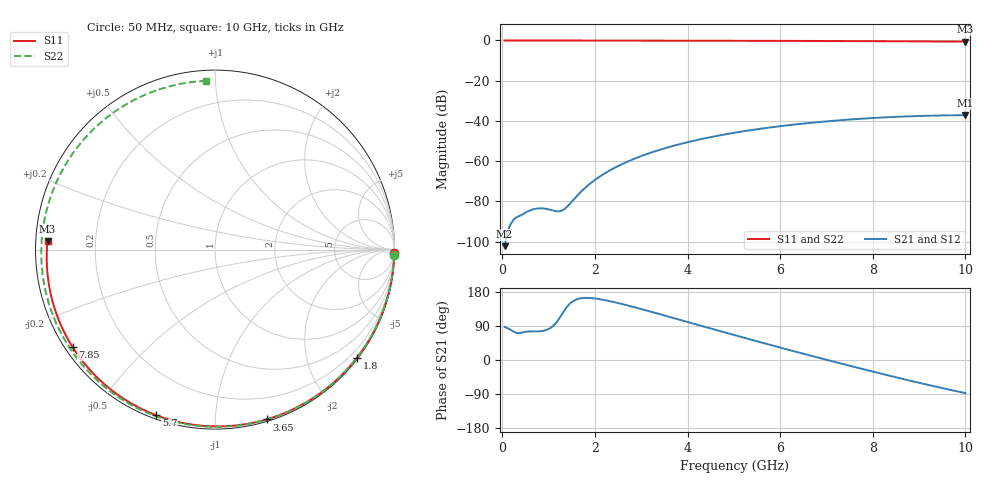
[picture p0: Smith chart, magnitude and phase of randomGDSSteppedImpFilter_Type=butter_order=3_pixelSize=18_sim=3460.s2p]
! freq	dB(S11)	phase(S11)	dB(S12)	phase(S12)
!  dB(S21)	phase(S21)	dB(S22)	phase(S22)
!S-par simulation data
#  GHz  S  DB  R 50
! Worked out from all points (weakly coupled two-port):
!   200 points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, 50 MHz to 10 GHz, reference 50 ohm
!   highest |S21| = -37.12 dB at 10 GHz (marker M1); lowest = -102.2 dB at 50 MHz (marker M2)
!   lowest |S11| = -0.6 dB at 10 GHz (marker M3), VSWR 29.42, Z = 1.7 + j1.26 ohm
!   |S11| at or under -10 dB: nowhere
!   |S22| runs from -0.5 to 0.0 dB; largest |S21 - S12| = 0
!   S11 on the Smith chart (normalised r, x): 50 MHz: open; 1.8 GHz: 0.03, -2.97; 3.65 GHz: 0.02, -1.35; 5.7 GHz: 0.02, -0.71; 7.85 GHz: 0.02, -0.31; 10 GHz: 0.03, +0.03
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0.05  -0.00 -1.0  -102.21 87.4  -102.21 87.4  -0.01 -1.7
0.4  -0.01 -8.4  -86.89 71.5  -86.89 71.5  -0.02 -13.6
0.75  -0.02 -15.7  -83.51 75.3  -83.51 75.3  -0.03 -25.4
1.15  -0.03 -24.0  -84.79 96.3  -84.79 96.3  -0.05 -38.7
1.5  -0.04 -31.1  -80.11 152.9  -80.11 152.9  -0.06 -50.0
1.75  -0.05 -36.2  -74.05 163.5  -74.05 163.5  -0.07 -57.8
1.8  -0.05 -37.2  -73.00 163.8  -73.00 163.8  -0.07 -59.4
2.1  -0.06 -43.2  -67.69 160.6  -67.69 160.6  -0.08 -68.6
2.45  -0.06 -50.2  -62.98 151.7  -62.98 151.7  -0.10 -79.0
2.9  -0.08 -58.9  -58.33 137.7  -58.33 137.7  -0.11 -91.9
3.4  -0.09 -68.4  -54.32 121.0  -54.32 121.0  -0.13 -105.6
3.65  -0.10 -73.1  -52.64 112.4  -52.64 112.4  -0.14 -112.2
4.35  -0.12 -85.9  -48.73 88.4  -48.73 88.4  -0.17 -130.0
5.05  -0.15 -98.3  -45.71 64.5  -45.71 64.5  -0.20 -147.0
5.7  -0.18 -109.6  -43.48 42.7  -43.48 42.7  -0.24 -162.3
6.2  -0.21 -118.0  -42.06 26.3  -42.06 26.3  -0.27 -173.9
6.7  -0.25 -126.4  -40.84 10.1  -40.84 10.1  -0.30 174.6
7.25  -0.29 -135.6  -39.72 -7.3  -39.72 -7.3  -0.34 161.7
7.85  -0.34 -145.6  -38.74 -26.0  -38.74 -26.0  -0.38 147.5
8.35  -0.39 -154.0  -38.11 -41.2  -38.11 -41.2  -0.42 135.4
9.2  -0.49 -168.6  -37.40 -65.9  -37.40 -65.9  -0.48 114.0
10  -0.59 177.1  -37.12 -87.4  -37.12 -87.4  -0.53 93.1
